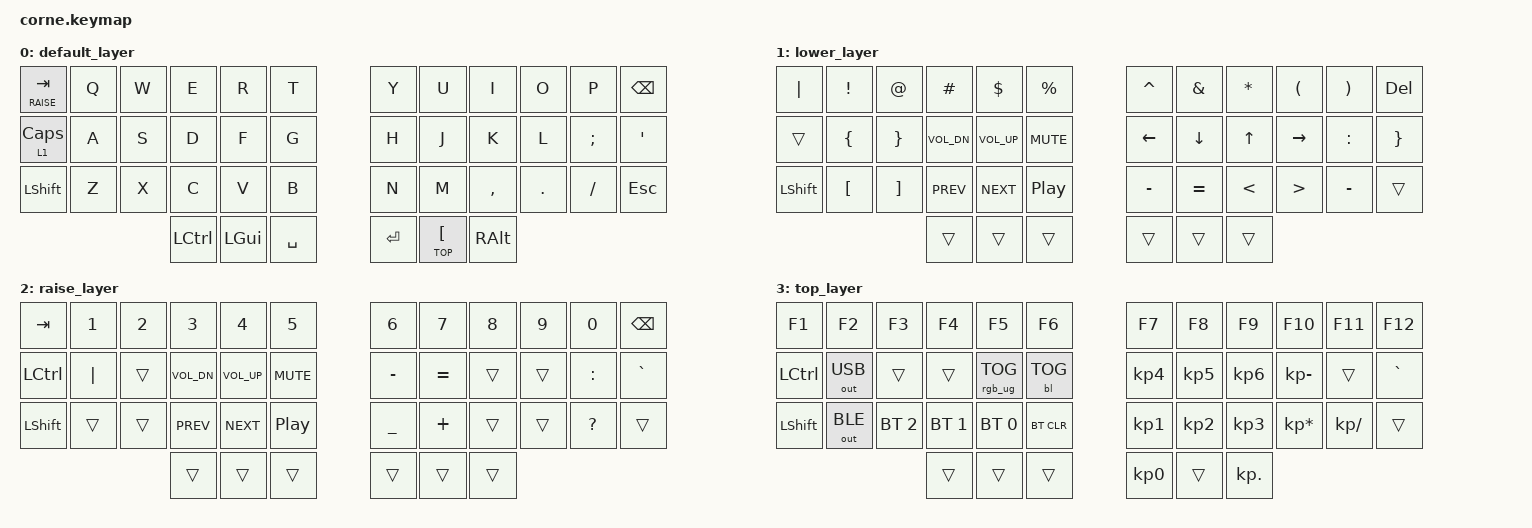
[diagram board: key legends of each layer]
/*
 * Copyright (c) 2020 The ZMK Contributors
 *
 * SPDX-License-Identifier: MIT
 */

#include <behaviors.dtsi>
#include <dt-bindings/zmk/backlight.h>
#include <dt-bindings/zmk/bt.h>
#include <dt-bindings/zmk/keys.h>
#include <dt-bindings/zmk/outputs.h>
#include <dt-bindings/zmk/rgb.h>

#define DEFAULT 0
#define LOWER   1
#define RAISE   2
#define TOP     3

/ {
    combos { compatible = "zmk,combos"; };

    behaviors {
        qq: qq {
            compatible = "zmk,behavior-mod-morph";
            label = "QQ";
            bindings = <&kp Q>, <&kp EXCLAMATION>;

            #binding-cells = <0>;
            mods = <(MOD_LCTL|MOD_LALT|MOD_LSFT|MOD_LGUI)>;
        };

        ww: ww {
            compatible = "zmk,behavior-mod-morph";
            label = "WW";
            bindings = <&kp W>, <&kp AT_SIGN>;

            #binding-cells = <0>;
            mods = <(MOD_LCTL|MOD_LALT|MOD_LSFT|MOD_LGUI)>;
        };

        ee: ee {
            compatible = "zmk,behavior-mod-morph";
            label = "EE";
            bindings = <&kp E>, <&kp HASH>;

            #binding-cells = <0>;
            mods = <(MOD_LCTL|MOD_LALT|MOD_LSFT|MOD_LGUI)>;
        };

        rr: rr {
            compatible = "zmk,behavior-mod-morph";
            label = "RR";
            bindings = <&kp R>, <&kp DOLLAR>;

            #binding-cells = <0>;
            mods = <(MOD_LCTL|MOD_LALT|MOD_LSFT|MOD_LGUI)>;
        };

        tt: tt {
            compatible = "zmk,behavior-mod-morph";
            label = "TT";
            bindings = <&kp T>, <&kp PERCENT>;

            #binding-cells = <0>;
            mods = <(MOD_LCTL|MOD_LALT|MOD_LSFT|MOD_LGUI)>;
        };

        yy: yy {
            compatible = "zmk,behavior-mod-morph";
            label = "YY";
            bindings = <&kp Y>, <&kp CARET>;

            #binding-cells = <0>;
            mods = <(MOD_LCTL|MOD_LALT|MOD_LSFT|MOD_LGUI)>;
        };

        uu: uu {
            compatible = "zmk,behavior-mod-morph";
            label = "UU";
            bindings = <&kp U>, <&kp AMPERSAND>;

            #binding-cells = <0>;
            mods = <(MOD_LCTL|MOD_LALT|MOD_LSFT|MOD_LGUI)>;
        };

        ii: ii {
            compatible = "zmk,behavior-mod-morph";
            label = "II";
            bindings = <&kp I>, <&kp ASTERISK>;

            #binding-cells = <0>;
            mods = <(MOD_LCTL|MOD_LALT|MOD_LSFT|MOD_LGUI)>;
        };

        oo: oo {
            compatible = "zmk,behavior-mod-morph";
            label = "OO";
            bindings = <&kp O>, <&kp LEFT_PARENTHESIS>;

            #binding-cells = <0>;
            mods = <(MOD_LCTL|MOD_LALT|MOD_LSFT|MOD_LGUI)>;
        };

        pp: pp {
            compatible = "zmk,behavior-mod-morph";
            label = "PP";
            bindings = <&kp P>, <&kp RIGHT_PARENTHESIS>;

            #binding-cells = <0>;
            mods = <(MOD_LCTL|MOD_LALT|MOD_LSFT|MOD_LGUI)>;
        };
    };

    keymap {
        compatible = "zmk,keymap";

        default_layer {
            bindings = <
&lt RAISE TAB   &kp Q  &kp W  &kp E      &kp R     &kp T        &kp Y    &kp U                 &kp I      &kp O    &kp P     &kp BSPC
&lt 1 CAPSLOCK  &kp A  &kp S  &kp D      &kp F     &kp G        &kp H    &kp J                 &kp K      &kp L    &kp SEMI  &kp SQT
&kp LSHFT       &kp Z  &kp X  &kp C      &kp V     &kp B        &kp N    &kp M                 &kp COMMA  &kp DOT  &kp FSLH  &kp ESC
                              &kp LCTRL  &kp LGUI  &kp SPACE    &kp RET  &lt TOP LEFT_BRACKET  &kp RALT
            >;
        };

        lower_layer {
            bindings = <
&kp PIPE   &kp EXCL          &kp AT_SIGN        &kp HASH      &kp DLLR      &kp PRCNT           &kp CARET  &kp AMPS   &kp STAR       &kp LPAR          &kp RPAR   &kp DEL
&trans     &kp LEFT_BRACE    &kp RIGHT_BRACE    &kp C_VOL_DN  &kp C_VOL_UP  &kp K_MUTE          &kp LEFT   &kp DOWN   &kp UP         &kp RIGHT         &kp COLON  &kp RIGHT_BRACE
&kp LSHFT  &kp LEFT_BRACKET  &kp RIGHT_BRACKET  &kp C_PREV    &kp C_NEXT    &kp C_PLAY_PAUSE    &kp MINUS  &kp EQUAL  &kp LESS_THAN  &kp GREATER_THAN  &kp MINUS  &trans
                                                &trans        &trans        &trans              &trans     &trans     &trans
            >;
        };

        raise_layer {
            // -----------------------------------------------------------------------------------------
            // |  TAB |  !  |  @  |  #  |  $  |  %  |   |  -  |  7  |  8  |  9  |  +  | BKSP |

            bindings = <
&kp TAB    &kp N1    &kp N2  &kp N3        &kp N4        &kp N5              &kp N6          &kp N7     &kp N8  &kp N9  &kp N0        &kp BSPC
&kp LCTRL  &kp PIPE  &trans  &kp C_VOL_DN  &kp C_VOL_UP  &kp K_MUTE          &kp MINUS       &kp EQUAL  &trans  &trans  &kp COLON     &kp GRAVE
&kp LSHFT  &trans    &trans  &kp C_PREV    &kp C_NEXT    &kp C_PLAY_PAUSE    &kp UNDERSCORE  &kp PLUS   &trans  &trans  &kp QUESTION  &trans
                             &trans        &trans        &trans              &trans          &trans     &trans
            >;
        };

        top_layer {
            // -----------------------------------------------------------------------------------------
            // |  TAB |  BRIGHT_UP  |  BRIGHT_DOWN  |  VOL_DOWN  |  VOL_UP  |  MUTE  |      |  -  |  7  |  8  |  9  |  +  | BKSP |
            // | CTRL |             |               |             |         |        |      |  .  |  4  |  5  |  6  |  -  |  `   |
            // | SHFT |             |              |             |          |        |      |  0  |  1  |  2  |  3  |  *  |  /   |
            //                      |              |             |          |         |     |     |     |

            bindings = <
&kp F1     &kp F2        &kp F3        &kp F4        &kp F5           &kp F6        &kp F7     &kp F8     &kp F9      &kp F10          &kp F11        &kp F12
&kp LCTRL  &out OUT_USB  &trans        &trans        &rgb_ug RGB_TOG  &bl BL_TOG    &kp KP_N4  &kp KP_N5  &kp KP_N6   &kp KP_MINUS     &trans         &kp GRAVE
&kp LSHFT  &out OUT_BLE  &bt BT_SEL 2  &bt BT_SEL 1  &bt BT_SEL 0     &bt BT_CLR    &kp KP_N1  &kp KP_N2  &kp KP_N3   &kp KP_MULTIPLY  &kp KP_DIVIDE  &trans
                                       &trans        &trans           &trans        &kp KP_N0  &trans     &kp KP_DOT
            >;
        };
    };
};
